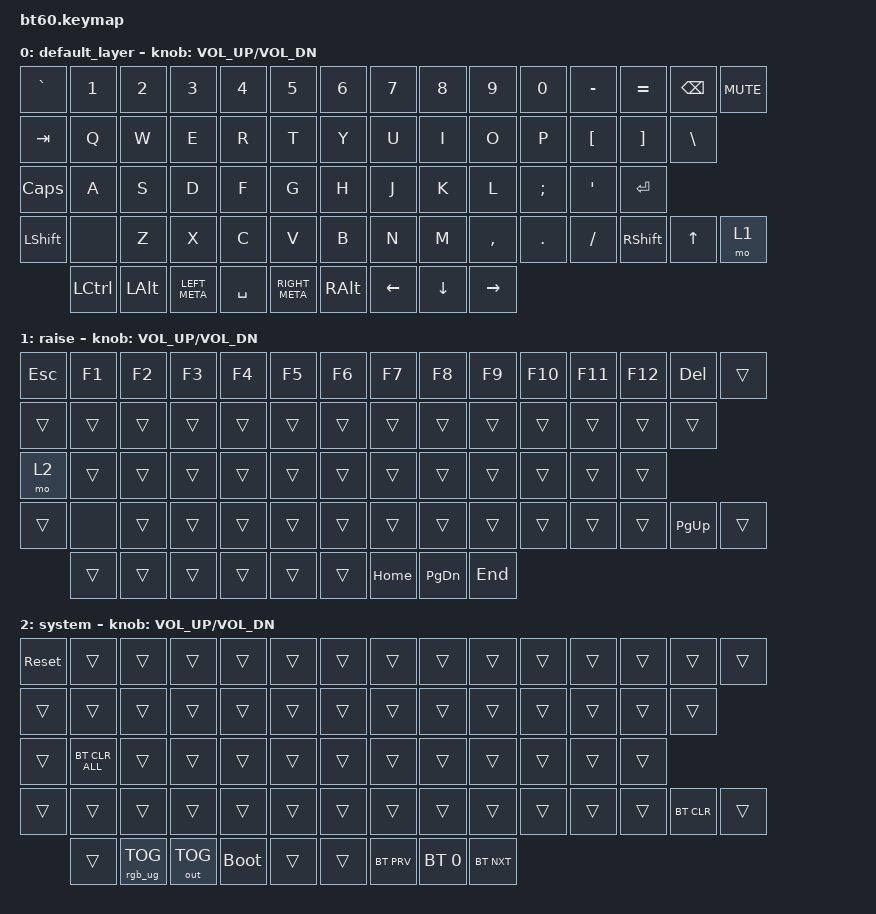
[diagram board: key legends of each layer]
#include <behaviors.dtsi>
#include <dt-bindings/zmk/bt.h>
#include <dt-bindings/zmk/keys.h>
#include <dt-bindings/zmk/outputs.h>
#include <dt-bindings/zmk/rgb.h>

/ {
    keymap {
        compatible = "zmk,keymap";

        default_layer {
            // ------------------------------------------------------------------------------------------
            // | ESC |  1  |  2  |  3  |  4  |  5  |  6  |  7  |  8  |  9  |  0  |  -  |  =  |BKSP | DEL |
            // | TAB  |  Q  |  W  |  E  |  R  |  T  |  Y  |  U  |  I  |  O  |  P  |  [  |  ]  |  |   |
            // | CAPS  |  A  |  S  |  D  |  F  |  G  |  H  |  J  |  K  |  L  |  ;  |  '  |     ENTER    |
            // |  SHIFT|NONE|  Z  |  X  |  C  |  V  |  B  |  N  |  M  |  ,  |  .  | /   | SHFT | UP | 1  |
            // |  CTL  |  ALT  |  WIN  |            SPACE              | WIN | ALT | LEFT | DOWN | RIGHT |
            // ------------------------------------------------------------------------------------------

            bindings = <
&kp GRAVE  &kp N1     &kp N2        &kp N3         &kp N4     &kp N5          &kp N6         &kp N7    &kp N8    &kp N9     &kp N0    &kp MINUS  &kp EQUAL  &kp BSPC  &kp C_MUTE
&kp TAB    &kp Q      &kp W         &kp E          &kp R      &kp T           &kp Y          &kp U     &kp I     &kp O      &kp P     &kp LBKT   &kp RBKT   &kp BSLH
&kp CLCK   &kp A      &kp S         &kp D          &kp F      &kp G           &kp H          &kp J     &kp K     &kp L      &kp SEMI  &kp SQT    &kp RET
&kp LSHFT  &none      &kp Z         &kp X          &kp C      &kp V           &kp B          &kp N     &kp M     &kp COMMA  &kp DOT   &kp FSLH   &kp RSHFT  &kp UP    &mo 1
           &kp LCTRL  &kp LEFT_ALT  &kp LEFT_META  &kp SPACE  &kp RIGHT_META  &kp RIGHT_ALT  &kp LEFT  &kp DOWN  &kp RIGHT
            >;

            sensor-bindings = <&inc_dec_kp C_VOL_UP C_VOL_DN>;
        };

        raise {
            bindings = <
&kp ESC  &kp F1  &kp F2  &kp F3  &kp F4  &kp F5  &kp F6  &kp F7    &kp F8     &kp F9   &kp F10  &kp F11  &kp F12  &kp DEL    &trans
&trans   &trans  &trans  &trans  &trans  &trans  &trans  &trans    &trans     &trans   &trans   &trans   &trans   &trans
&mo 2   &trans  &trans  &trans  &trans  &trans  &trans  &trans    &trans     &trans   &trans   &trans   &trans
&trans   &none   &trans  &trans  &trans  &trans  &trans  &trans    &trans     &trans   &trans   &trans   &trans   &kp PG_UP  &trans
         &trans  &trans  &trans  &trans  &trans  &trans  &kp HOME  &kp PG_DN  &kp END
            >;

            sensor-bindings = <&inc_dec_kp C_VOL_UP C_VOL_DN>;
        };

        system {
            bindings = <
&sys_reset  &trans          &trans           &trans        &trans       &trans  &trans  &trans      &trans        &trans      &trans  &trans  &trans  &trans      &trans
&trans      &trans          &trans           &trans        &trans       &trans  &trans  &trans      &trans        &trans      &trans  &trans  &trans  &trans
&trans      &bt BT_CLR_ALL  &trans           &trans        &trans       &trans  &trans  &trans      &trans        &trans      &trans  &trans  &trans
&trans      &trans          &trans           &trans        &trans       &trans  &trans  &trans      &trans        &trans      &trans  &trans  &trans  &bt BT_CLR  &trans
            &trans          &rgb_ug RGB_TOG  &out OUT_TOG  &bootloader  &trans  &trans  &bt BT_PRV  &bt BT_SEL 0  &bt BT_NXT
            >;

            sensor-bindings = <&inc_dec_kp C_VOL_UP C_VOL_DN>;
        };
    };
};
